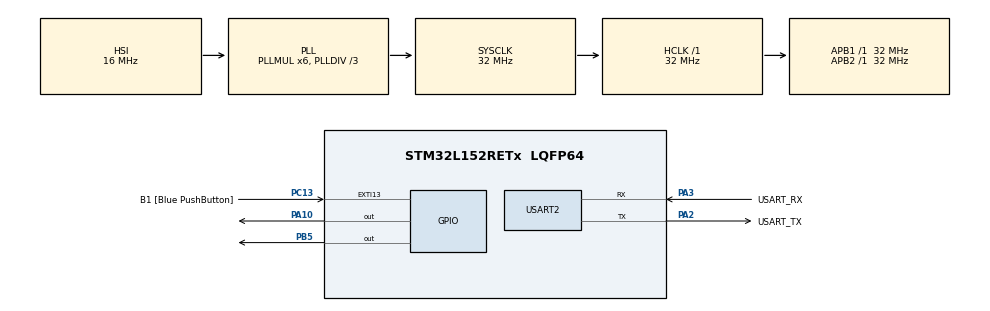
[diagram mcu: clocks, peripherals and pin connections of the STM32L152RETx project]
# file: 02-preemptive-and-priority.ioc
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Mcu.Family=STM32L1
RCC.MSI_VALUE=2097000
PC15-OSC32_OUT.Mode=LSE-External-Oscillator
PH0-OSC_IN.Signal=RCC_OSC_IN
PA14.GPIO_Label=TCK
PC14-OSC32_IN.Signal=RCC_OSC32_IN
RCC.SYSCLKSource=RCC_SYSCLKSOURCE_PLLCLK
ProjectManager.StackSize=0x400
PA13.Signal=SYS_JTMS-SWDIO
PA3.Mode=Asynchronous
RCC.PLLDIV=RCC_PLL_DIV3
ProjectManager.TargetToolchain=Other Toolchains (GPDSC)
RCC.HCLKFreq_Value=32000000
PC13-WKUP2.GPIO_Label=B1 [Blue PushButton]
RCC.APB2TimFreq_Value=32000000
PC15-OSC32_OUT.Signal=RCC_OSC32_OUT
RCC.AHBFreq_Value=32000000
PH0-OSC_IN.Mode=HSE-External-Clock-Source
RCC.HSE_VALUE=8000000
PC13-WKUP2.Signal=GPXTI13
board=NUCLEO-L152RE
RCC.VCOOutputFreq_Value=96000000
RCC.PLLMUL=RCC_PLL_MUL6
RCC.APB2Freq_Value=32000000
PC14-OSC32_IN.Mode=LSE-External-Oscillator
RCC.RTCClockSelectionVirtual=RCC_RTCCLKSOURCE_LSE
PA14.Mode=Serial_Wire
PH1-OSC_OUT.Signal=RCC_OSC_OUT
PA13.Mode=Serial_Wire
Mcu.Name=STM32L152RETx
PA2.Signal=USART2_TX
PA13.GPIO_Label=TMS
RCC.48MHZClocksFreq_Value=48000000
PB3.Signal=SYS_JTDO-TRACESWO
RCC.SYSCLKFreq_VALUE=32000000
Mcu.Package=LQFP64
PB5.Signal=GPIO_Output
USART2.VirtualMode=VM_ASYNC
RCC.USBOutput=48000000
PA2.GPIO_Label=USART_TX
PA10.Signal=GPIO_Output
PA14.Signal=SYS_JTCK-SWCLK
ProjectManager.HeapSize=0x200
RCC.HSI_VALUE=16000000
NVIC.PriorityGroup=NVIC_PRIORITYGROUP_0
RCC.APB1TimFreq_Value=32000000
PA2.Mode=Asynchronous
RCC.APB1Freq_Value=32000000
PA3.GPIO_Label=USART_RX
PA3.Signal=USART2_RX
PB3.GPIO_Label=SWO

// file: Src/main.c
/* USER CODE BEGIN Header */
/**
  ******************************************************************************
  * @file           : main.c
  * @brief          : Main program body
  ******************************************************************************
  * @attention
  *
  * <h2><center>&copy; Copyright (c) 2021 STMicroelectronics.
  * All rights reserved.</center></h2>
  *
  * This software component is licensed by ST under BSD 3-Clause license,
  * the "License"; You may not use this file except in compliance with the
  * License. You may obtain a copy of the License at:
  *                        opensource.org/licenses/BSD-3-Clause
  *
  ******************************************************************************
  */
/* USER CODE END Header */
#include "main.h"

/* USER CODE BEGIN PD */
/* Task Stack Size */
#define APP_TASK_START_STK_SIZE 128u
#define LED_GREEN_TASK_STK_SIZE 128u
#define LED_RED_TASK_STK_SIZE 128u
/* Task Priority */
#define APP_TASK_START_PRIO 1u
#define LED_GREEN_TASK_PRIO 2u
#define LED_RED_TASK_PRIO 3u
/* USER CODE END PD */

/* USER CODE BEGIN PV */
/* Task Control Block */
static OS_TCB AppTaskStartTCB;
static OS_TCB LEDGreenTaskTCB;
static OS_TCB LEDRedTaskTCB;
/* Task Stack */
static CPU_STK AppTaskStartStk[APP_TASK_START_STK_SIZE];
static CPU_STK LEDGreenTaskStk[APP_TASK_START_STK_SIZE];
static CPU_STK LEDRedTaskStk[APP_TASK_START_STK_SIZE];
/* USER CODE END PV */

void SystemClock_Config(void);
/* USER CODE BEGIN PFP */
static void AppTaskStart(void *p_arg);
static void LEDGreenTask(void *p_arg);
static void LEDRedTask(void *p_arg);
/* USER CODE END PFP */

/* USER CODE BEGIN 0 */
int main(void)
{
  /* To store error code */
  OS_ERR os_err;

  /* Initialize uC/OS-III */
  OSInit(&os_err);

  if (os_err != OS_ERR_NONE)
  {
    while (DEF_TRUE)
      ;
  }

  OSTaskCreate(
      /* pointer to task control block */
      (OS_TCB *)&AppTaskStartTCB,
      /* task name can be displayed by debuggers */
      (CPU_CHAR *)"App Task Start",
      /* pointer to the task */
      (OS_TASK_PTR)AppTaskStart,
      /* pointer to an OPTIONAL data area */
      (void *)0,
      /* task priority: the lower the number, the higher the priority */
      (OS_PRIO)APP_TASK_START_PRIO,
      /* pointer to task's stack base addr */
      (CPU_STK *)&AppTaskStartStk[0],
      /* task's stack limit to monitor and ensure that the stack
       * doesn't overflow (10%) */
      (CPU_STK_SIZE)APP_TASK_START_STK_SIZE / 10,
      /* task's stack size */
      (CPU_STK_SIZE)APP_TASK_START_STK_SIZE,
      /* max number of message that the task can receive through
       * internal message queue (5) */
      (OS_MSG_QTY)5u,
      /* amount of clock ticks for the time quanta
       * when round robin is enabled */
      (OS_TICK)0u,
      /* pointer to an OPTIONAL user-supplied memory location
       * use as a TCB extension */
      (void *)0,
      /* contain task-specific option
       * OS_OPT_TASK_STK_CHK: allow stack checking
       * OS_OPT_TASK_STK_CLR: stack needs to be cleared */
      (OS_OPT)(OS_OPT_TASK_STK_CHK | OS_OPT_TASK_STK_CLR),
      /* pointer to a variable that will receive an error code */
      (OS_ERR *)&os_err);

  if (os_err != OS_ERR_NONE)
  {
    while (DEF_TRUE)
      ;
  }

  /* Start Mulitasking */
  OSStart(&os_err);
}
/* USER CODE END 0 */

void SystemClock_Config(void)
{
  RCC_OscInitTypeDef RCC_OscInitStruct = {0};
  RCC_ClkInitTypeDef RCC_ClkInitStruct = {0};

  /** Configure the main internal regulator output voltage
  */
  __HAL_PWR_VOLTAGESCALING_CONFIG(PWR_REGULATOR_VOLTAGE_SCALE1);
  /** Initializes the RCC Oscillators according to the specified parameters
  * in the RCC_OscInitTypeDef structure.
  */
  RCC_OscInitStruct.OscillatorType = RCC_OSCILLATORTYPE_HSI;
  RCC_OscInitStruct.HSIState = RCC_HSI_ON;
  RCC_OscInitStruct.HSICalibrationValue = RCC_HSICALIBRATION_DEFAULT;
  RCC_OscInitStruct.PLL.PLLState = RCC_PLL_ON;
  RCC_OscInitStruct.PLL.PLLSource = RCC_PLLSOURCE_HSI;
  RCC_OscInitStruct.PLL.PLLMUL = RCC_PLL_MUL6;
  RCC_OscInitStruct.PLL.PLLDIV = RCC_PLL_DIV3;
  if (HAL_RCC_OscConfig(&RCC_OscInitStruct) != HAL_OK)
  {
    Error_Handler();
  }
  /** Initializes the CPU, AHB and APB buses clocks
  */
  RCC_ClkInitStruct.ClockType = RCC_CLOCKTYPE_HCLK|RCC_CLOCKTYPE_SYSCLK
                              |RCC_CLOCKTYPE_PCLK1|RCC_CLOCKTYPE_PCLK2;
  RCC_ClkInitStruct.SYSCLKSource = RCC_SYSCLKSOURCE_PLLCLK;
  RCC_ClkInitStruct.AHBCLKDivider = RCC_SYSCLK_DIV1;
  RCC_ClkInitStruct.APB1CLKDivider = RCC_HCLK_DIV1;
  RCC_ClkInitStruct.APB2CLKDivider = RCC_HCLK_DIV1;

  if (HAL_RCC_ClockConfig(&RCC_ClkInitStruct, FLASH_LATENCY_1) != HAL_OK)
  {
    Error_Handler();
  }
}

/* USER CODE BEGIN 4 */
static void AppTaskStart(void *p_arg)
{
  OS_ERR os_err;

  HAL_Init();
  SystemClock_Config();
  MX_GPIO_Init();
  MX_USART2_UART_Init();

  OSTaskCreate(
      (OS_TCB *)&LEDGreenTaskTCB,
      (CPU_CHAR *)"LED Green Task",
      (OS_TASK_PTR)LEDGreenTask,
      (void *)0,
      (OS_PRIO)LED_GREEN_TASK_PRIO,
      (CPU_STK *)&LEDGreenTaskStk[0],
      (CPU_STK_SIZE)LED_GREEN_TASK_STK_SIZE / 10,
      (CPU_STK_SIZE)LED_GREEN_TASK_STK_SIZE,
      (OS_MSG_QTY)5u,
      (OS_TICK)0u,
      (void *)0,
      (OS_OPT)(OS_OPT_TASK_STK_CHK | OS_OPT_TASK_STK_CLR),
      (OS_ERR *)&os_err);

  OSTaskCreate(
      (OS_TCB *)&LEDRedTaskTCB,
      (CPU_CHAR *)"LED Red Task",
      (OS_TASK_PTR)LEDRedTask,
      (void *)0,
      (OS_PRIO)LED_RED_TASK_PRIO,
      (CPU_STK *)&LEDRedTaskStk[0],
      (CPU_STK_SIZE)LED_RED_TASK_STK_SIZE / 10,
      (CPU_STK_SIZE)LED_RED_TASK_STK_SIZE,
      (OS_MSG_QTY)5u,
      (OS_TICK)0u,
      (void *)0,
      (OS_OPT)(OS_OPT_TASK_STK_CHK | OS_OPT_TASK_STK_CLR),
      (OS_ERR *)&os_err);
}

static void LEDGreenTask(void *p_arg)
{

  OS_ERR os_err;
  unsigned char MSG[14];
  sprintf((char*)MSG, "LEDGreenTask\n");
  while (DEF_TRUE)
  {
    BSP_LED_GREEN_Toggle();
    HAL_UART_Transmit(&huart2, MSG, sizeof(MSG), 100);
    OSTimeDlyHMSM(0, 0, 5, 0, OS_OPT_TIME_HMSM_STRICT, &os_err);
  }
}

static void LEDRedTask(void *p_arg)
{
  OS_ERR os_err;
  unsigned char MSG[12];
  sprintf((char *)MSG, "LEDRedTask\n");
  while (DEF_TRUE)
  {
    BSP_LED_RED_Toggle();
    HAL_UART_Transmit(&huart2, MSG, sizeof(MSG), 100);
    OSTimeDlyHMSM(0, 0, 0, 500, OS_OPT_TIME_HMSM_STRICT, &os_err);
  }

}
/* USER CODE END 4 */

void Error_Handler(void)
{
  __disable_irq();
  while (1)
  {
  }
}

/************************ (C) COPYRIGHT STMicroelectronics *****END OF FILE****/
